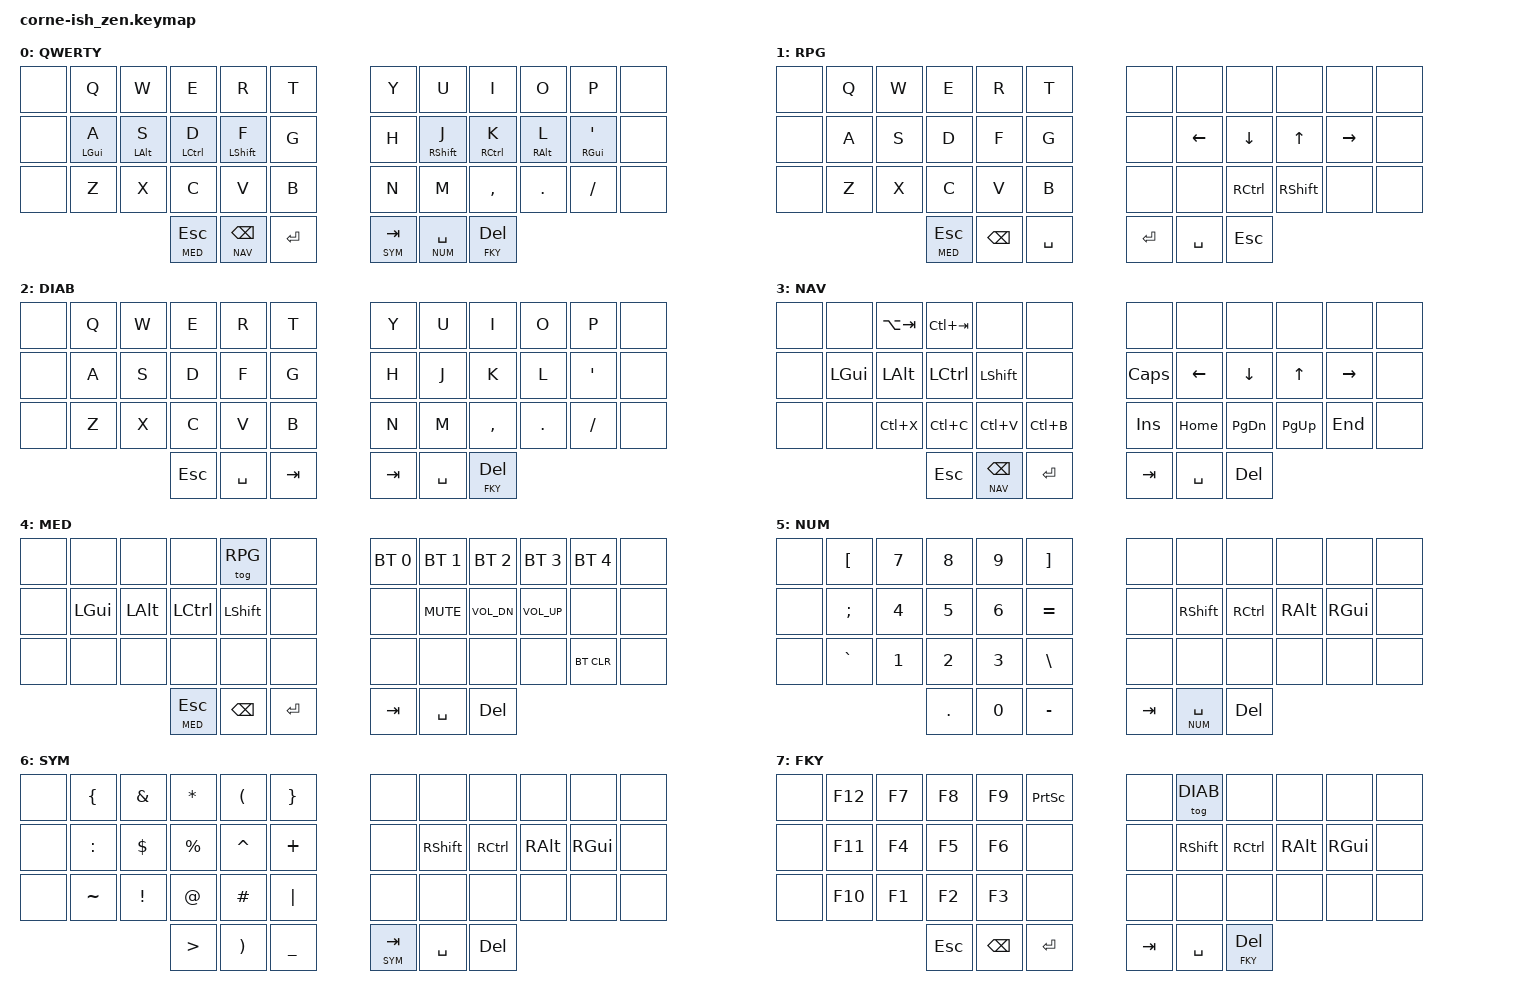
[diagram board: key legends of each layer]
/*
*
* Copyright (c) 2021 lowprokb.ca
* SPDX-License-Identifier: MIT
*
*/

#include <behaviors.dtsi>
#include <dt-bindings/zmk/keys.h>
#include <dt-bindings/zmk/bt.h>

#define QWERTY 0
#define RPG 1
#define DIAB 2
#define NAV 3
#define MED 4
#define NUM 5
#define SYM 6
#define FKY 7

/ {
    behaviors {
        lhm: left_homerow_mods {
            compatible = "zmk,behavior-hold-tap";
            label = "LEFT_HOMEROW_MODS";
            #binding-cells = <2>;
            tapping-term-ms = <150>;
            quick_tap_ms = <0>;
            flavor = "tap-preferred";
            bindings = <&kp>, <&kp>;
            hold-trigger-key-positions = <6 7 8 9 10 11 18 19 20 21 22 23 27 28 30 31 32 33 34 35 36 37 38 39 40 41>;               
        };

        rhm: right_homerow_mods {
            compatible = "zmk,behavior-hold-tap";
            label = "RIGHT_HOMEROW_MODS";
            #binding-cells = <2>;
            tapping-term-ms = <150>;
            quick_tap_ms = <0>;
            flavor = "tap-preferred";
            bindings = <&kp>, <&kp>;
            hold-trigger-key-positions = <0 1 2 3 4 5 12 13 14 15 16 17 24 25 26 27 28 29 36 37 38 39 41>;               
        };        
    };
    
        keymap {
                compatible = "zmk,keymap";

                default_layer {
                        label = "QWERTY";
                        bindings = <
   &none &kp Q       &kp W       &kp E        &kp R         &kp T    &kp Y &kp U         &kp I          &kp O         &kp P           &none 
   &none &lhm LGUI A &lhm LALT S &lhm LCTRL D &lhm LSHIFT F &kp G    &kp H &rhm RSHIFT J &rhm RCTRL K   &rhm RALT L   &rhm RGUI QUOT  &none 
   &none &kp Z       &kp X       &kp C        &kp V         &kp B    &kp N &kp M         &kp CMMA       &kp DOT       &kp FSLH        &none 
                           &lt MED ESC &lt NAV BKSP &kp ENTER        &lt SYM TAB &lt NUM SPACE &lt FKY DEL
                        >;
                };

                rpg_layer {
                        label = "RPG";
                        bindings = <
   &none &kp Q      &kp W      &kp E      &kp R        &kp T    &none    &none       &none       &none      &none     &none 
   &none &kp A      &kp S      &kp D      &kp F        &kp G    &none    &kp LEFT    &kp DOWN    &kp UP     &kp RIGHT &none 
   &none &kp Z      &kp X      &kp C      &kp V        &kp B    &none    &none       &kp RCTRL   &kp RSHIFT &none   &none 
                  &lt MED ESC &kp BKSP &kp SPACE                &kp ENTER &kp SPACE &kp ESC
                       >;
                };
                
                
                diab_layer {
                        label = "DIAB";
                        bindings = <
   &none &kp Q     &kp W     &kp E     &kp R       &kp T   &kp Y   &kp U        &kp I         &kp O        &kp P          &none 
   &none &kp A     &kp S     &kp D     &kp F       &kp G   &kp H   &kp J        &kp K         &kp L        &kp QUOT       &none 
   &none &kp Z     &kp X     &kp C     &kp V       &kp B   &kp N   &kp M        &kp CMMA      &kp DOT      &kp FSLH       &none 
                        &kp ESC &kp SPACE &kp TAB                  &kp TAB &kp SPACE &lt FKY DEL
                        >;
                };

                nav_layer {
                        label = "NAV";
                        bindings = <
   &none &none      &kp LA(TAB) &kp LC(TAB)  &none        &none       &none    &none       &none       &none     &none     &none 
   &none &kp LGUI   &kp LALT    &kp LCTRL    &kp LSHIFT   &none       &kp CAPS &kp LEFT    &kp DOWN    &kp UP    &kp RIGHT &none 
   &none &none      &kp LC(X)   &kp LC(C)    &kp LC(V)    &kp LC(B)   &kp INS  &kp HOME    &kp PG_DN   &kp PG_UP &kp END   &none 
                     &kp ESC &lt NAV BKSP &kp ENTER                &kp TAB &kp SPACE &kp DEL
                       >;
                };

                med_layer {
                        label = "MED";
                        bindings = <
   &none &none      &none      &none      &tog RPG     &none    &bt BT_SEL 0 &bt BT_SEL 1 &bt BT_SEL 2   &bt BT_SEL 3   &bt BT_SEL 4  &none 
   &none &kp LGUI   &kp LALT   &kp LCTRL  &kp LSHIFT   &none    &none        &kp C_MUTE   &kp C_VOL_DN   &kp C_VOL_UP   &none         &none
   &none &none      &none      &none      &none        &none    &none        &none        &none          &none          &bt BT_CLR    &none
                  &lt MED ESC &kp BKSP &kp ENTER                &kp TAB &kp SPACE &kp DEL
                       >;
                };

                num_layer {
                        label = "NUM";
                        bindings = < 
   &none &kp LBKT   &kp N7     &kp N8     &kp N9       &kp RBKT    &none    &none       &none       &none     &none     &none
   &none &kp SEMI   &kp N4     &kp N5     &kp N6       &kp EQUAL   &none    &kp RSHIFT  &kp RCTRL   &kp RALT  &kp RGUI  &none
   &none &kp GRAVE  &kp N1     &kp N2     &kp N3       &kp BSLH    &none    &none       &none       &none     &none     &none
                        &kp DOT &kp N0    &kp MINUS                &kp TAB &lt NUM SPACE &kp DEL
                        >;
                };

                sym_layer {
                        label = "SYM";
                        bindings = <
   &none &kp LBRC   &kp AMPS   &kp STAR   &kp LPAR     &kp RBRC    &none    &none       &none       &none     &none    &none
   &none &kp COLON  &kp DLLR   &kp PRCNT  &kp CARET    &kp PLUS    &none    &kp RSHIFT  &kp RCTRL   &kp RALT  &kp RGUI &none
   &none &kp TILDE  &kp EXCL   &kp AT     &kp HASH     &kp PIPE    &none    &none       &none       &none     &none    &none
                        &kp GT &kp RPAR   &kp UNDER                &lt SYM TAB &kp SPACE &kp DEL
                        >;
                };

                fkey_layer {
                        label = "FKY";
                        bindings = <
   &none &kp F12    &kp F7     &kp F8     &kp F9       &kp PSCRN   &none    &tog DIAB   &none       &none     &none    &none
   &none &kp F11    &kp F4     &kp F5     &kp F6       &none       &none    &kp RSHIFT  &kp RCTRL   &kp RALT  &kp RGUI &none
   &none &kp F10    &kp F1     &kp F2     &kp F3       &none       &none    &none       &none       &none     &none    &none
                        &kp ESC &kp BKSP &kp ENTER                 &kp TAB &kp SPACE &lt FKY DEL
                        >;
                };                
              
        };
};
